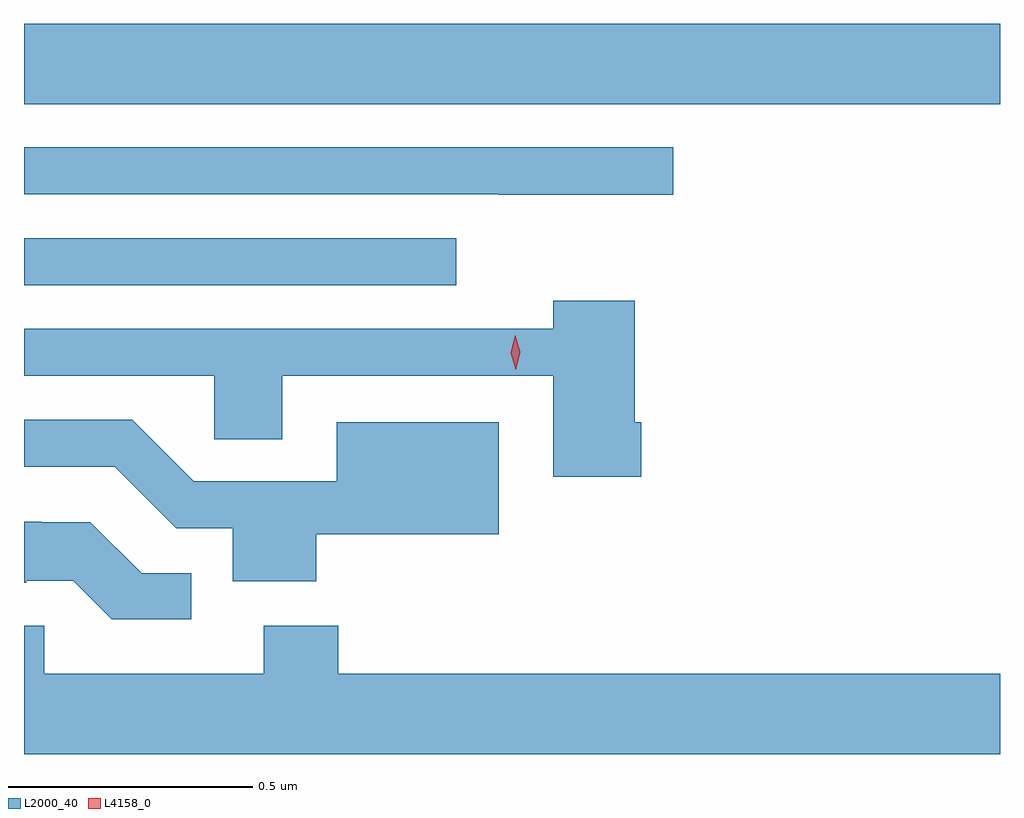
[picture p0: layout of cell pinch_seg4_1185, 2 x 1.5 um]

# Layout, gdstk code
import gdstk
lib = gdstk.Library(unit=1e-6, precision=1e-09)
def R(c, l, rs):  # rectangles x0, y0, x1, y1
    for r in rs: c.add(gdstk.rectangle(r[:2], r[2:], *l))
def P(c, l, *ps):  # polygons
    for p in ps: c.add(gdstk.Polygon(p, *l))
L2000_40 = (2000, 40)
L4158_0 = (4158, 0)

pinch_seg4_1185 = lib.new_cell('pinch_seg4_1185')
R(pinch_seg4_1185, L2000_40, [(438.42,767.145,439.306,767.241), (438.42,767.516,440.42,767.68)])
P(pinch_seg4_1185, L2000_40, [(439.75,767.427),(438.42,767.427),(438.42,767.331),(439.393,767.331),(439.393,767.33),(439.75,767.33)],
  [(439.685,766.864),(439.672,766.864),(439.672,767.113),(439.505,767.113),(439.505,767.055),(438.42,767.055),(438.42,766.959),(438.81,766.959),(438.81,766.829),(438.949,766.829),(438.949,766.959),(439.505,766.959),(439.505,766.752),(439.685,766.752)],
  [(439.019,766.634),(439.393,766.634),(439.393,766.864),(439.061,766.864),(439.061,766.743),(438.768,766.743),(438.642,766.869),(438.42,766.869),(438.42,766.773),(438.606,766.773),(438.732,766.647),(438.848,766.647),(438.848,766.538),(439.019,766.538)],
  [(438.763,766.554),(438.661,766.554),(438.556,766.659),(438.455,766.659),(438.455,766.66),(438.42,766.66),(438.42,766.535),(438.425,766.535),(438.425,766.539),(438.521,766.539),(438.6,766.46),(438.763,766.46)],
  [(440.42,766.348),(439.064,766.348),(439.064,766.447),(438.911,766.447),(438.911,766.348),(438.462,766.348),(438.462,766.447),(438.42,766.447),(438.42,766.184),(440.42,766.184)])
P(pinch_seg4_1185, L4158_0, [(439.428,766.971),(439.428,766.971),(439.417,767.006),(439.427,767.042),(439.427,767.042),(439.427,767.042),(439.437,767.007),(439.428,766.971)])

lib.write_gds('pinch_seg4_1185.gds')
